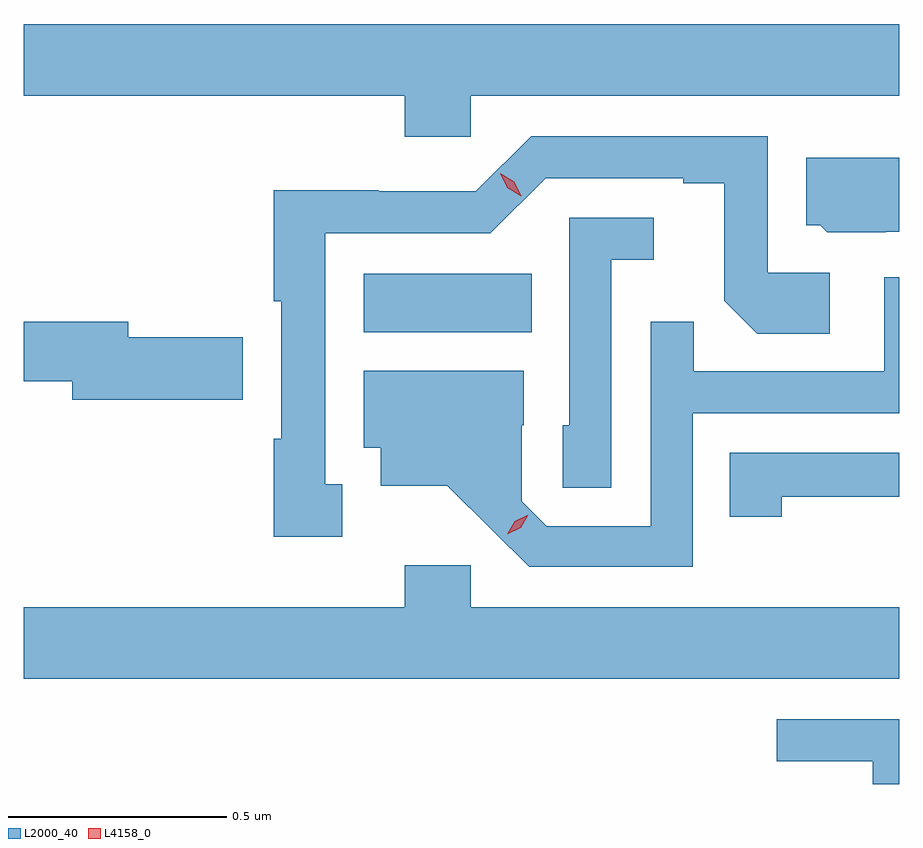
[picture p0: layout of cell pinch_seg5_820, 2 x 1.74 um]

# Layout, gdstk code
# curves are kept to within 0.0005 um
import gdstk
lib = gdstk.Library(unit=1e-6, precision=1e-09)
def R(c, l, rs):  # rectangles x0, y0, x1, y1
    for r in rs: c.add(gdstk.rectangle(r[:2], r[2:], *l))
def P(c, l, *ps):  # polygons
    for p in ps: c.add(gdstk.Polygon(p, *l))
L2000_40 = (2000, 40)
L4158_0 = (4158, 0)

pinch_seg5_820 = lib.new_cell('pinch_seg5_820')
R(pinch_seg5_820, L2000_40, [(772.292,909.5,772.676,909.634)])
P(pinch_seg5_820, L2000_40, [(772.536,910.04),(773.515,910.04),(773.515,910.204),(771.515,910.204),(771.515,910.04),(772.385,910.04),(772.385,909.947),(772.536,909.947)],
  [(772.243,909.153),(772.204,909.153),(772.204,909.726),(772.581,909.726),(772.707,909.852),(773.021,909.852),(773.021,909.84),(773.115,909.84),(773.115,909.572),(773.191,909.496),(773.356,909.496),(773.356,909.636),(773.214,909.636),(773.214,909.948),(772.674,909.948),(772.548,909.822),(772.326,909.822),(772.326,909.824),(772.086,909.824),(772.086,909.571),(772.103,909.571),(772.103,909.257),(772.086,909.257),(772.086,909.033),(772.243,909.033)],
  [(773.484,909.729),(773.515,909.729),(773.515,909.898),(773.303,909.898),(773.303,909.744),(773.334,909.744),(773.35,909.728),(773.484,909.728)],
  [(772.857,909.665),(772.954,909.665),(772.954,909.762),(772.761,909.762),(772.761,909.288),(772.746,909.288),(772.746,909.145),(772.857,909.145)],
  [(773.043,909.315),(773.515,909.315),(773.515,909.625),(773.481,909.625),(773.481,909.411),(773.045,909.411),(773.045,909.524),(772.947,909.524),(772.947,909.057),(772.71,909.057),(772.653,909.114),(772.653,909.288),(772.657,909.288),(772.657,909.412),(772.292,909.412),(772.292,909.236),(772.331,909.236),(772.331,909.149),(772.483,909.149),(772.67,908.964),(773.043,908.964)],
  [(772.015,909.488),(771.754,909.488),(771.754,909.524),(771.515,909.524),(771.515,909.388),(771.626,909.388),(771.626,909.346),(772.015,909.346)],
  [(773.247,909.124),(773.515,909.124),(773.515,909.225),(773.128,909.225),(773.128,909.078),(773.247,909.078)],
  [(773.515,908.872),(772.536,908.872),(772.536,908.968),(772.385,908.968),(772.385,908.872),(771.515,908.872),(771.515,908.708),(773.515,908.708)],
  [(773.515,908.616),(773.235,908.616),(773.235,908.52),(773.454,908.52),(773.454,908.468),(773.515,908.468)])
P(pinch_seg5_820, L4158_0, [(772.619,909.038),(772.619,909.038),(772.637,909.068),(772.667,909.083),(772.668,909.083),(772.668,909.083),(772.65,909.053),(772.62,909.038)],
  [(772.652,909.811),(772.62,909.83),(772.603,909.862),(772.603,909.863),(772.603,909.863),(772.635,909.844),(772.652,909.811),(772.652,909.811)])

lib.write_gds('pinch_seg5_820.gds')
